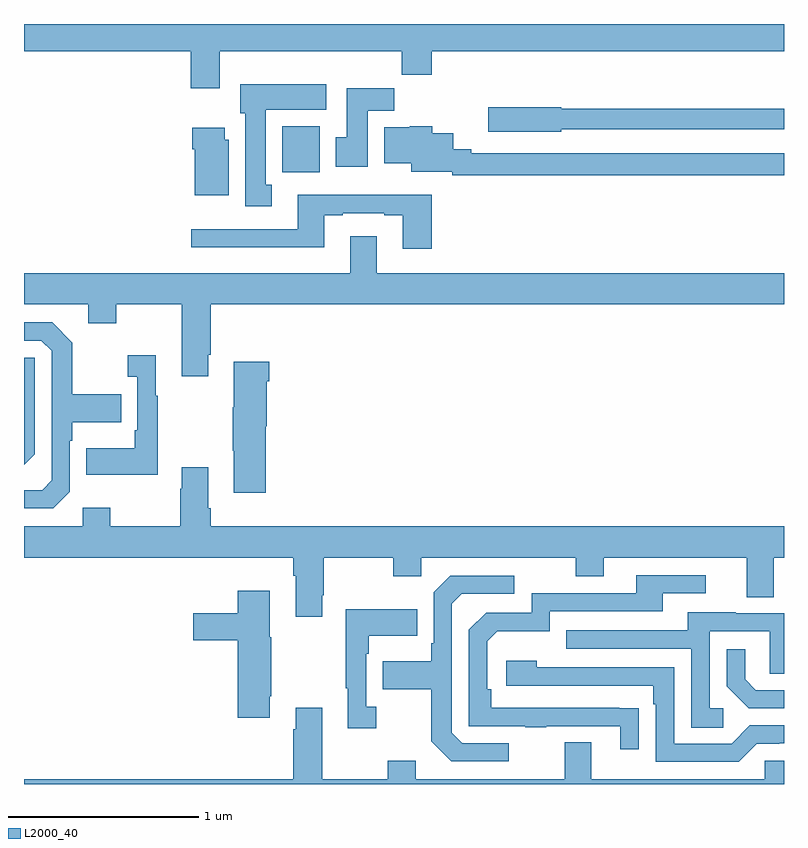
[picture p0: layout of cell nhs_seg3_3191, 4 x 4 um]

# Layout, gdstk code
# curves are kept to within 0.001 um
import gdstk
lib = gdstk.Library(unit=1e-6, precision=1e-09)
def R(c, l, rs):  # rectangles x0, y0, x1, y1
    for r in rs: c.add(gdstk.rectangle(r[:2], r[2:], *l))
def P(c, l, *ps):  # polygons
    for p in ps: c.add(gdstk.Polygon(p, *l))
L2000_40 = (2000, 40)

nhs_seg3_3191 = lib.new_cell('nhs_seg3_3191')
R(nhs_seg3_3191, L2000_40, [(278.36,693.62,278.557,693.862)])
P(nhs_seg3_3191, L2000_40, [(278.029,694.256),(278.989,694.256),(278.989,694.132),(279.146,694.132),(279.146,694.256),(281,694.256),(281,694.4),(277,694.4),(277,694.256),(277.877,694.256),(277.877,694.062),(278.029,694.062)],
  [(278.305,693.554),(278.272,693.554),(278.272,693.95),(278.59,693.95),(278.59,694.084),(278.138,694.084),(278.138,693.93),(278.165,693.93),(278.165,693.441),(278.305,693.441)],
  [(278.809,693.944),(278.948,693.944),(278.948,694.063),(278.699,694.063),(278.699,693.804),(278.642,693.804),(278.642,693.648),(278.809,693.648)],
  [(279.828,693.846),(281,693.846),(281,693.955),(279.828,693.955),(279.828,693.963),(279.444,693.963),(279.444,693.833),(279.828,693.833)],
  [(281,693.72),(279.355,693.72),(279.355,693.74),(279.259,693.74),(279.259,693.826),(279.148,693.826),(279.148,693.862),(279.03,693.862),(279.03,693.856),(278.897,693.856),(278.897,693.668),(279.038,693.668),(279.038,693.623),(279.255,693.623),(279.255,693.604),(281,693.604)],
  [(278.077,693.792),(278.056,693.792),(278.056,693.853),(277.886,693.853),(277.886,693.74),(277.898,693.74),(277.898,693.5),(278.077,693.5)],
  [(279.146,693.502),(278.441,693.502),(278.441,693.321),(277.881,693.321),(277.881,693.224),(278.581,693.224),(278.581,693.393),(278.677,693.393),(278.677,693.405),(278.897,693.405),(278.897,693.393),(278.993,693.393),(278.993,693.216),(279.146,693.216)],
  [(277.969,692.659),(277.982,692.659),(277.982,692.924),(281,692.924),(281,693.088),(278.857,693.088),(278.857,693.283),(278.717,693.283),(278.717,693.088),(277,693.088),(277,692.924),(277.337,692.924),(277.337,692.825),(277.485,692.825),(277.485,692.924),(277.829,692.924),(277.829,692.547),(277.969,692.547)],
  [(277.242,691.938),(277.242,692.207),(277.255,692.207),(277.255,692.303),(277.511,692.303),(277.511,692.451),(277.255,692.451),(277.255,692.723),(277.149,692.829),(277,692.829),(277,692.733),(277.092,692.733),(277.146,692.679),(277.146,691.998),(277.095,691.947),(277,691.947),(277,691.851),(277.155,691.851)],
  [(277.705,692.443),(277.693,692.443),(277.693,692.656),(277.545,692.656),(277.545,692.543),(277.596,692.543),(277.596,692.263),(277.584,692.263),(277.584,692.167),(277.327,692.167),(277.327,692.027),(277.705,692.027)],
  [(277.056,692.136),(277.056,692.643),(277,692.643),(277,692.08)],
  [(278.273,692.283),(278.278,692.283),(278.278,692.519),(278.291,692.519),(278.291,692.623),(278.105,692.623),(278.105,692.383),(278.098,692.383),(278.098,692.155),(278.105,692.155),(278.105,691.932),(278.273,691.932)],
  [(278.569,691.393),(278.577,691.393),(278.577,691.592),(278.944,691.592),(278.944,691.493),(279.09,691.493),(279.09,691.592),(279.904,691.592),(279.904,691.493),(280.051,691.493),(280.051,691.592),(280.805,691.592),(280.805,691.384),(280.945,691.384),(280.945,691.592),(281,691.592),(281,691.756),(277.982,691.756),(277.982,691.852),(277.969,691.852),(277.969,692.068),(277.829,692.068),(277.829,691.955),(277.822,691.955),(277.822,691.756),(277.455,691.756),(277.455,691.855),(277.308,691.855),(277.308,691.756),(277,691.756),(277,691.592),(278.417,691.592),(278.417,691.496),(278.429,691.496),(278.429,691.281),(278.569,691.281)],
  [(280.235,690.8),(279.458,690.801),(279.458,690.898),(279.438,690.898),(279.438,691.152),(279.491,691.205),(279.768,691.205),(279.768,691.308),(280.363,691.308),(280.363,691.404),(280.588,691.404),(280.588,691.5),(280.223,691.5),(280.223,691.404),(279.672,691.404),(279.672,691.302),(279.432,691.302),(279.342,691.212),(279.342,690.705),(279.637,690.705),(279.637,690.7),(279.749,690.7),(279.749,690.705),(280.139,690.705),(280.139,690.582),(280.235,690.582)],
  [(279.55,690.615),(279.306,690.615),(279.252,690.669),(279.252,691.35),(279.303,691.401),(279.58,691.401),(279.58,691.497),(279.243,691.497),(279.156,691.41),(279.156,691.141),(279.144,691.141),(279.144,691.045),(278.887,691.045),(278.887,690.898),(279.144,690.898),(279.144,690.625),(279.249,690.519),(279.55,690.519)],
  [(278.293,690.862),(278.301,690.862),(278.301,691.173),(278.293,691.173),(278.293,691.417),(278.126,691.417),(278.126,691.299),(277.89,691.299),(277.89,691.157),(278.126,691.157),(278.126,690.75),(278.293,690.75)],
  [(278.854,690.806),(278.802,690.806),(278.802,691.085),(278.815,691.085),(278.815,691.181),(279.071,691.181),(279.071,691.321),(278.694,691.321),(278.694,690.905),(278.705,690.905),(278.705,690.693),(278.854,690.693)],
  [(280.681,690.798),(280.608,690.798),(280.608,691.203),(280.926,691.203),(280.926,690.979),(281,690.979),(281,691.299),(280.747,691.299),(280.747,691.303),(280.493,691.303),(280.493,691.209),(279.853,691.209),(279.853,691.113),(280.512,691.113),(280.512,690.697),(280.681,690.697)],
  [(281,690.894),(280.852,690.894),(280.795,690.951),(280.795,691.108),(280.698,691.108),(280.698,690.914),(280.814,690.798),(281,690.798)],
  [(280.857,690.612),(280.976,690.612),(280.976,690.615),(281,690.615),(281,690.708),(280.821,690.708),(280.725,690.612),(280.422,690.612),(280.422,691.014),(279.698,691.014),(279.698,691.048),(279.537,691.048),(279.537,690.918),(280.313,690.918),(280.313,690.821),(280.326,690.821),(280.326,690.516),(280.761,690.516)],
  [(281,690.522),(280.899,690.522),(280.899,690.424),(279.985,690.424),(279.985,690.619),(279.845,690.619),(279.845,690.424),(279.061,690.424),(279.061,690.523),(278.914,690.523),(278.914,690.424),(278.569,690.424),(278.569,690.802),(278.429,690.802),(278.429,690.689),(278.417,690.689),(278.417,690.424),(277,690.424),(277,690.4),(281,690.4)])

lib.write_gds('nhs_seg3_3191.gds')
